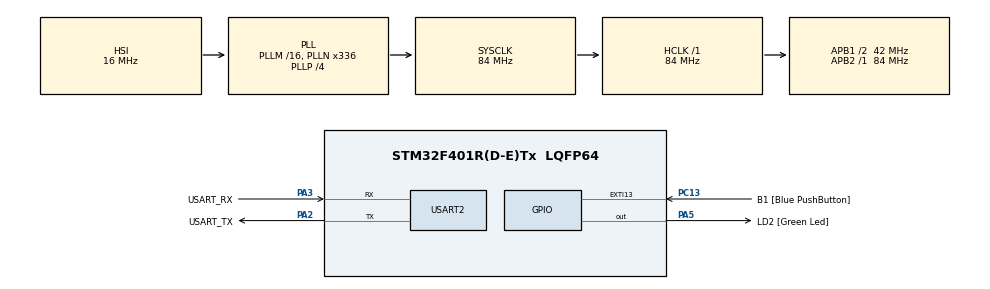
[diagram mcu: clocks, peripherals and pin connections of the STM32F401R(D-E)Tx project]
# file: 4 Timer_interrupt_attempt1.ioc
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Mcu.Family=STM32F4
Mcu.Name=STM32F401R(D-E)Tx
Mcu.Package=LQFP64
NVIC.PriorityGroup=NVIC_PRIORITYGROUP_0
NVIC.TIM3_IRQn=true\:0\:0\:false\:false\:true\:true
PA13.GPIO_Label=TMS
PA13.Signal=SYS_JTMS-SWDIO
PA14.GPIO_Label=TCK
PA14.Signal=SYS_JTCK-SWCLK
PA2.GPIO_Label=USART_TX
PA2.GPIO_Mode=GPIO_MODE_AF_PP
PA2.GPIO_PuPd=GPIO_NOPULL
PA2.GPIO_Speed=GPIO_SPEED_FREQ_LOW
PA2.Mode=Asynchronous
PA2.Signal=USART2_TX
PA3.GPIO_Label=USART_RX
PA3.GPIO_Mode=GPIO_MODE_AF_PP
PA3.GPIO_PuPd=GPIO_NOPULL
PA3.GPIO_Speed=GPIO_SPEED_FREQ_LOW
PA3.Mode=Asynchronous
PA3.Signal=USART2_RX
PA5.GPIO_Label=LD2 [Green Led]
PA5.GPIO_Mode=GPIO_MODE_OUTPUT_PP
PA5.GPIO_PuPd=GPIO_NOPULL
PA5.GPIO_Speed=GPIO_SPEED_FREQ_LOW
PA5.Signal=GPIO_Output
PB3.GPIO_Label=SWO
PB3.Signal=SYS_JTDO-SWO
PC13-ANTI_TAMP.GPIO_Label=B1 [Blue PushButton]
PC13-ANTI_TAMP.GPIO_ModeDefaultEXTI=GPIO_MODE_IT_FALLING
PC13-ANTI_TAMP.GPIO_PuPd=GPIO_NOPULL
PC13-ANTI_TAMP.Signal=GPXTI13
PC14-OSC32_IN.Signal=RCC_OSC32_IN
PC15-OSC32_OUT.Signal=RCC_OSC32_OUT
PH0\ -\ OSC_IN.Mode=HSE-External-Oscillator
PH0\ -\ OSC_IN.Signal=RCC_OSC_IN
PH1\ -\ OSC_OUT.Mode=HSE-External-Oscillator
PH1\ -\ OSC_OUT.Signal=RCC_OSC_OUT
ProjectManager.HeapSize=0x200
ProjectManager.StackSize=0x400
ProjectManager.TargetToolchain=SW4STM32
RCC.48MHZClocksFreq_Value=48000000
RCC.AHBFreq_Value=84000000
RCC.APB1CLKDivider=RCC_HCLK_DIV2
RCC.APB1Freq_Value=42000000
RCC.APB1TimFreq_Value=84000000
RCC.APB2Freq_Value=84000000
RCC.APB2TimFreq_Value=84000000
RCC.CortexFreq_Value=84000000
RCC.HCLKFreq_Value=84000000
RCC.HSE_VALUE=8000000
RCC.HSI_VALUE=16000000
RCC.LSE_VALUE=32768
RCC.PLLM=8
RCC.PLLN=336
RCC.PLLP=RCC_PLLP_DIV4
RCC.PLLQ=7
RCC.PLLSourceVirtual=RCC_PLLSOURCE_HSE
RCC.SYSCLKFreq_VALUE=84000000
RCC.SYSCLKSource=RCC_SYSCLKSOURCE_PLLCLK
RCC.VCOOutputFreq_Value=336000000
TIM3.Period=499
TIM3.Prescaler=16000
USART2.VirtualMode=VM_ASYNC
VP_TIM3_VS_ClockSourceINT.Mode=Internal
board=NUCLEO-F401RE

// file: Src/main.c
/**
  ******************************************************************************
  * File Name          : main.c
  * Description        : Main program body
  ******************************************************************************
  ** This notice applies to any and all portions of this file
  * that are not between comment pairs USER CODE BEGIN and
  * USER CODE END. Other portions of this file, whether
  * inserted by the user or by software development tools
  * are owned by their respective copyright owners.
  *
  * COPYRIGHT(c) 2018 STMicroelectronics
  *
  * Redistribution and use in source and binary forms, with or without modification,
  * are permitted provided that the following conditions are met:
  *   1. Redistributions of source code must retain the above copyright notice,
  *      this list of conditions and the following disclaimer.
  *   2. Redistributions in binary form must reproduce the above copyright notice,
  *      this list of conditions and the following disclaimer in the documentation
  *      and/or other materials provided with the distribution.
  *   3. Neither the name of STMicroelectronics nor the names of its contributors
  *      may be used to endorse or promote products derived from this software
  *      without specific prior written permission.
  *
  * THIS SOFTWARE IS PROVIDED BY THE COPYRIGHT HOLDERS AND CONTRIBUTORS "AS IS"
  * AND ANY EXPRESS OR IMPLIED WARRANTIES, INCLUDING, BUT NOT LIMITED TO, THE
  * IMPLIED WARRANTIES OF MERCHANTABILITY AND FITNESS FOR A PARTICULAR PURPOSE ARE
  * DISCLAIMED. IN NO EVENT SHALL THE COPYRIGHT HOLDER OR CONTRIBUTORS BE LIABLE
  * FOR ANY DIRECT, INDIRECT, INCIDENTAL, SPECIAL, EXEMPLARY, OR CONSEQUENTIAL
  * DAMAGES (INCLUDING, BUT NOT LIMITED TO, PROCUREMENT OF SUBSTITUTE GOODS OR
  * SERVICES; LOSS OF USE, DATA, OR PROFITS; OR BUSINESS INTERRUPTION) HOWEVER
  * CAUSED AND ON ANY THEORY OF LIABILITY, WHETHER IN CONTRACT, STRICT LIABILITY,
  * OR TORT (INCLUDING NEGLIGENCE OR OTHERWISE) ARISING IN ANY WAY OUT OF THE USE
  * OF THIS SOFTWARE, EVEN IF ADVISED OF THE POSSIBILITY OF SUCH DAMAGE.
  *
  ******************************************************************************
  */

#include "main.h"
#include "stm32f4xx_hal.h"

/* USER CODE BEGIN Includes */
#define TRUE 1
#define FALSE 0
#define BUS_FREQUENCY 84000000.0
#define PRESCALER 42000.0
#define NOT_SET -5
#define INTERRUPT_PERIOD 30 //default period into which time intervals will be broken into

/* USER CODE END Includes */

TIM_HandleTypeDef htim3;

UART_HandleTypeDef huart2;

/* USER CODE BEGIN PV */
/* Private variables ---------------------------------------------------------*/
//Note to self: lock down these global variables somehow so that not EVERYONE can use them :')))
int number_of_timer_repeats; //the current number of times the timer has triggered
int wanted_number_of_timer_repeats; //the total number of times the timer OF DEFAULT PERIOD must go off
int timer_remainder; //extra time needed after all 30 seconds segments

/* USER CODE END PV */

void SystemClock_Config(void);
static void MX_GPIO_Init(void);
static void MX_TIM3_Init(void);

static void MX_TIM3_Change_Period(int period);
void timer_period_to(int seconds);

static void set_timer_to_trigger_in(int seconds);
static void MX_USART2_UART_Init(void);

/* USER CODE BEGIN PFP */
/* Private function prototypes -----------------------------------------------*/

/* USER CODE END PFP */

int main(void)
{

  /* USER CODE BEGIN 1 */
	number_of_timer_repeats = NOT_SET;
	wanted_number_of_timer_repeats = NOT_SET;
	timer_remainder = NOT_SET;
  /* USER CODE END 1 */

  /* MCU Configuration----------------------------------------------------------*/

  /* Reset of all peripherals, Initializes the Flash interface and the Systick. */
  HAL_Init();

  /* Configure the system clock */
  SystemClock_Config();

  /* Initialize all configured peripherals */
  MX_GPIO_Init();
  MX_TIM3_Init();
  MX_USART2_UART_Init();

  /* USER CODE BEGIN 2 */
  //HAL_TIM_Base_Start_IT(&htim3); //activates interrupt
  set_timer_to_trigger_in(905);
  //testing changes in period and setting time through period
 /* timer_period_to(5);
  HAL_Delay(20000);
  timer_period_to(10);
  HAL_Delay(20000);
  timer_period_to(15);
  HAL_Delay(60000);*/

  //testing starts and stops of timer
 /* MX_TIM3_Change_Period(9999);
  HAL_Delay(5000);
  HAL_TIM_Base_Stop_IT(&htim3);*/ //stops interrupt I believe
  /*HAL_Delay(10000);
  HAL_TIM_Base_Start_IT(&htim3);*/ //activates interrupt

  /* USER CODE END 2 */

  /* Infinite loop */
  while (1)
  {

  }

}

/** System Clock Configuration
*/
void SystemClock_Config(void)
{

  RCC_OscInitTypeDef RCC_OscInitStruct;
  RCC_ClkInitTypeDef RCC_ClkInitStruct;

    /**Configure the main internal regulator output voltage
    */
  __HAL_RCC_PWR_CLK_ENABLE();

  __HAL_PWR_VOLTAGESCALING_CONFIG(PWR_REGULATOR_VOLTAGE_SCALE2);

    /**Initializes the CPU, AHB and APB busses clocks
    */
  RCC_OscInitStruct.OscillatorType = RCC_OSCILLATORTYPE_HSI;
  RCC_OscInitStruct.HSIState = RCC_HSI_ON;
  RCC_OscInitStruct.HSICalibrationValue = 16;
  RCC_OscInitStruct.PLL.PLLState = RCC_PLL_ON;
  RCC_OscInitStruct.PLL.PLLSource = RCC_PLLSOURCE_HSI;
  RCC_OscInitStruct.PLL.PLLM = 16;
  RCC_OscInitStruct.PLL.PLLN = 336;
  RCC_OscInitStruct.PLL.PLLP = RCC_PLLP_DIV4;
  RCC_OscInitStruct.PLL.PLLQ = 7;
  if (HAL_RCC_OscConfig(&RCC_OscInitStruct) != HAL_OK)
  {
    _Error_Handler(__FILE__, __LINE__);
  }

    /**Initializes the CPU, AHB and APB busses clocks
    */
  RCC_ClkInitStruct.ClockType = RCC_CLOCKTYPE_HCLK|RCC_CLOCKTYPE_SYSCLK
                              |RCC_CLOCKTYPE_PCLK1|RCC_CLOCKTYPE_PCLK2;
  RCC_ClkInitStruct.SYSCLKSource = RCC_SYSCLKSOURCE_PLLCLK;
  RCC_ClkInitStruct.AHBCLKDivider = RCC_SYSCLK_DIV1;
  RCC_ClkInitStruct.APB1CLKDivider = RCC_HCLK_DIV2;
  RCC_ClkInitStruct.APB2CLKDivider = RCC_HCLK_DIV1;

  if (HAL_RCC_ClockConfig(&RCC_ClkInitStruct, FLASH_LATENCY_2) != HAL_OK)
  {
    _Error_Handler(__FILE__, __LINE__);
  }

    /**Configure the Systick interrupt time
    */
  HAL_SYSTICK_Config(HAL_RCC_GetHCLKFreq()/1000);

    /**Configure the Systick
    */
  HAL_SYSTICK_CLKSourceConfig(SYSTICK_CLKSOURCE_HCLK);

  /* SysTick_IRQn interrupt configuration */
  HAL_NVIC_SetPriority(SysTick_IRQn, 0, 0);
}

/* TIM3 init function */
static void MX_TIM3_Init(void)
{

  TIM_ClockConfigTypeDef sClockSourceConfig;
  TIM_MasterConfigTypeDef sMasterConfig;

  htim3.Instance = TIM3;
  htim3.Init.Prescaler = 42000-1;
  htim3.Init.CounterMode = TIM_COUNTERMODE_UP;
  htim3.Init.Period = 5000-1;
  htim3.Init.ClockDivision = TIM_CLOCKDIVISION_DIV1;
  if (HAL_TIM_Base_Init(&htim3) != HAL_OK)
  {
    _Error_Handler(__FILE__, __LINE__);
  }

  sClockSourceConfig.ClockSource = TIM_CLOCKSOURCE_INTERNAL;
  if (HAL_TIM_ConfigClockSource(&htim3, &sClockSourceConfig) != HAL_OK)
  {
    _Error_Handler(__FILE__, __LINE__);
  }

  sMasterConfig.MasterOutputTrigger = TIM_TRGO_RESET;
  sMasterConfig.MasterSlaveMode = TIM_MASTERSLAVEMODE_DISABLE;
  if (HAL_TIMEx_MasterConfigSynchronization(&htim3, &sMasterConfig) != HAL_OK)
  {
    _Error_Handler(__FILE__, __LINE__);
  }

}

/* USART2 init function */
static void MX_USART2_UART_Init(void)
{

  huart2.Instance = USART2;
  huart2.Init.BaudRate = 115200;
  huart2.Init.WordLength = UART_WORDLENGTH_8B;
  huart2.Init.StopBits = UART_STOPBITS_1;
  huart2.Init.Parity = UART_PARITY_NONE;
  huart2.Init.Mode = UART_MODE_TX_RX;
  huart2.Init.HwFlowCtl = UART_HWCONTROL_NONE;
  huart2.Init.OverSampling = UART_OVERSAMPLING_16;
  if (HAL_UART_Init(&huart2) != HAL_OK)
  {
    _Error_Handler(__FILE__, __LINE__);
  }

}

/** Configure pins as
        * Analog
        * Input
        * Output
        * EVENT_OUT
        * EXTI
*/
static void MX_GPIO_Init(void)
{

  GPIO_InitTypeDef GPIO_InitStruct;

  /* GPIO Ports Clock Enable */
  __HAL_RCC_GPIOC_CLK_ENABLE();
  __HAL_RCC_GPIOH_CLK_ENABLE();
  __HAL_RCC_GPIOA_CLK_ENABLE();
  __HAL_RCC_GPIOB_CLK_ENABLE();

  /*Configure GPIO pin Output Level */
  HAL_GPIO_WritePin(LD2_GPIO_Port, LD2_Pin, GPIO_PIN_RESET);

  /*Configure GPIO pin : B1_Pin */
  GPIO_InitStruct.Pin = B1_Pin;
  GPIO_InitStruct.Mode = GPIO_MODE_IT_FALLING;
  GPIO_InitStruct.Pull = GPIO_NOPULL;
  HAL_GPIO_Init(B1_GPIO_Port, &GPIO_InitStruct);

  /*Configure GPIO pin : LD2_Pin */
  GPIO_InitStruct.Pin = LD2_Pin;
  GPIO_InitStruct.Mode = GPIO_MODE_OUTPUT_PP;
  GPIO_InitStruct.Pull = GPIO_NOPULL;
  GPIO_InitStruct.Speed = GPIO_SPEED_FREQ_LOW;
  HAL_GPIO_Init(LD2_GPIO_Port, &GPIO_InitStruct);

}

/* USER CODE BEGIN 4 */
/*
 * Sets up action to be performed after a long time interval
 * Parameters: seconds - time in seconds before action should be performed
 */
static void set_timer_to_trigger_in(int seconds)
{
	//deal with global variable
	wanted_number_of_timer_repeats = seconds/INTERRUPT_PERIOD;
	timer_remainder = seconds%INTERRUPT_PERIOD;
	number_of_timer_repeats = -1;

	//begin timer
	timer_period_to(INTERRUPT_PERIOD);
}

/* TIM3 change period function */
static void MX_TIM3_Change_Period(int period)
{
  htim3.Init.Period = period;
  HAL_TIM_Base_Start_IT(&htim3);
  if (HAL_TIM_Base_Init(&htim3) != HAL_OK) //somehow necessary, not sure why
  {
    _Error_Handler(__FILE__, __LINE__);
  }

}
/*
 * Changes the timer period to trigger after a set number of seconds
 * Params: seconds - number of seconds between each interrupt
 */
void timer_period_to(int seconds)
{
	int period = (int) (seconds*BUS_FREQUENCY/PRESCALER) - 1;
	MX_TIM3_Change_Period(period);
}

/* USER CODE END 4 */

void _Error_Handler(char * file, int line)
{
  while(1)
  {
  }
}

/************************ (C) COPYRIGHT STMicroelectronics *****END OF FILE****/
